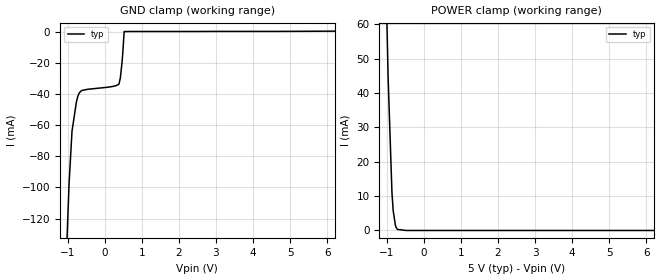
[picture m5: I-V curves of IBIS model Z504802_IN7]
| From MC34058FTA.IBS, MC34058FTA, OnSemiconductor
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| (C) COPYRIGHT 1993-2000
| MENTOR GRAPHICS CORPORATION
| ICX STANDARD LIBRARY, ICX PROJECT MODELING,
| ICX CUSTOM MODELING, ICX VENDOR MODEL
| ALL RIGHTS RESERVED.
| THE FOLLOWING ARE TRADEMARKS OR SERVICE MARKS OF
| MENTOR GRAPHICS CORPORATION:ICX (R), ICX STANDARD
| LIBRARY(R), ICX PROJECT MODELING(R), ICX CUSTOM
| MODELING(R), qualityIBIS(TM), MODELVIEWER(TM),
| AND MODELEDITOR(TM)
| ALL COPIES OF SOFTWARE, INCLUDING BUT NOT LIMITED TO
| ANY MODIFICATIONS, ENHANCEMENTS OR DERIVATIVE WORKS,
| MUST CONTAIN ALL MENTOR GRAPHICS CORPORATION'S
| NOTICES AND LEGENDS, INCLUDING THOSE EMBEDDED IN
| SOFTWARE AND THOSE AFFIXED TO SOFTWARE MEDIUM
| AND CONTAINER, AS RECEIVED FROM MENTOR GRAPHICS
| CORPORATION.
| Model Application Version 1.89 2/18/99.
[Model] Z504802_IN7
Model_type Input
Vinl = 800.0mV
Vinh = 2.000V
C_comp 4.000pF NA NA
| variable typ   min   max
[Voltage Range] 5.000V NA NA
[GND Clamp Reference] 0.000V NA NA
[POWER Clamp Reference] 5.000V NA NA
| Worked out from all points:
|   POWER clamp passes 1 mA (typ) near -0.75 V on its own axis
[GND Clamp]
-5V       -3.332A    NA         NA
-1.101V   -189mA     NA         NA
-960.9mV  -98.2mA    NA         NA
-880.5mV  -63.96mA   NA         NA
-760.8mV  -45.05mA   NA         NA
-725.7mV  -41.69mA   NA         NA
-606.9mV  -37.71mA   NA         NA
385mV     -33.74mA   NA         NA
422.9mV   -29.77mA   NA         NA
468.7mV   -19.73mA   NA         NA
526.1mV   35.37uA    NA         NA
10V       692.5uA    NA         NA
[POWER Clamp]
-5V       2.486A     NA         NA
-1.094V   109.9mA    NA         NA
-964mV    44.78mA    NA         NA
-860mV    11.08mA    NA         NA
-827mV    5.809mA    NA         NA
-768mV    1.563mA    NA         NA
-749mV    901.7uA    NA         NA
-711mV    304.4uA    NA         NA
-474mV    0A         NA         NA
10V       0A         NA         NA
